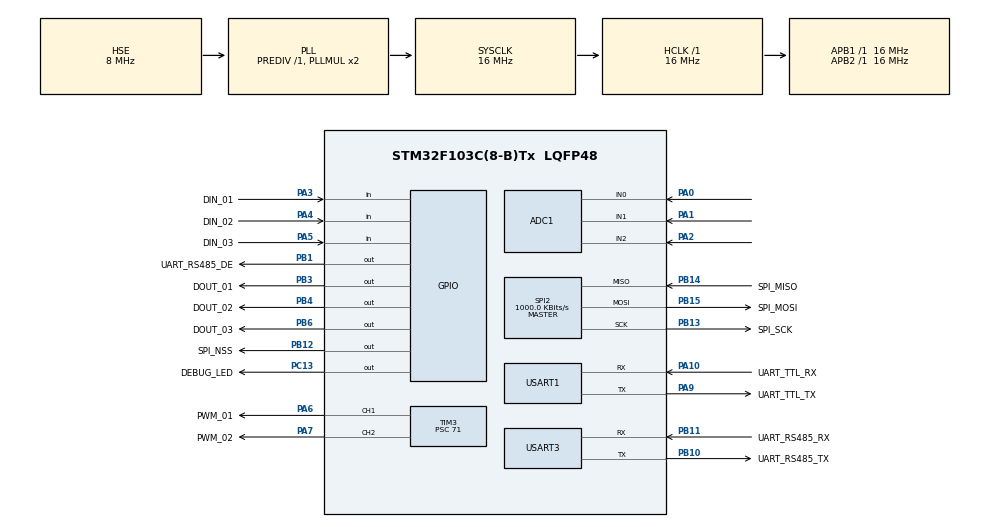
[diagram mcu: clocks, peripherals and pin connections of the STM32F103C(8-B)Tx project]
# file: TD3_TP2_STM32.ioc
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ADC1.Channel-14\#ChannelRegularConversion=ADC_CHANNEL_0
ADC1.Channel-15\#ChannelRegularConversion=ADC_CHANNEL_0
ADC1.ContinuousConvMode=ENABLE
ADC1.NbrOfConversion=2
ADC1.NbrOfConversionFlag=1
ADC1.Rank-14\#ChannelRegularConversion=1
ADC1.Rank-15\#ChannelRegularConversion=2
ADC1.SamplingTime-14\#ChannelRegularConversion=ADC_SAMPLETIME_1CYCLE_5
ADC1.SamplingTime-15\#ChannelRegularConversion=ADC_SAMPLETIME_1CYCLE_5
ADC1.master=1
FREERTOS.Tasks01=defaultTask,0,128,StartDefaultTask,Default,NULL,Dynamic,NULL,NULL
Mcu.Family=STM32F1
Mcu.Name=STM32F103C(8-B)Tx
Mcu.Package=LQFP48
NVIC.PriorityGroup=NVIC_PRIORITYGROUP_4
PA0-WKUP.Signal=ADCx_IN0
PA1.Signal=ADCx_IN1
PA10.GPIO_Label=UART_TTL_RX
PA10.Mode=Asynchronous
PA10.Signal=USART1_RX
PA13.Mode=Serial_Wire
PA13.Signal=SYS_JTMS-SWDIO
PA14.Mode=Serial_Wire
PA14.Signal=SYS_JTCK-SWCLK
PA2.Signal=ADCx_IN2
PA3.GPIO_Label=DIN_01
PA3.GPIO_Mode=GPIO_MODE_INPUT
PA3.GPIO_PuPd=GPIO_PULLDOWN
PA3.Signal=GPIO_Input
PA4.GPIO_Label=DIN_02
PA4.GPIO_Mode=GPIO_MODE_INPUT
PA4.GPIO_PuPd=GPIO_PULLDOWN
PA4.Signal=GPIO_Input
PA5.GPIO_Label=DIN_03
PA5.GPIO_Mode=GPIO_MODE_INPUT
PA5.GPIO_PuPd=GPIO_PULLDOWN
PA5.Signal=GPIO_Input
PA6.GPIO_Label=PWM_01
PA6.Signal=S_TIM3_CH1
PA7.GPIO_Label=PWM_02
PA7.Signal=S_TIM3_CH2
PA9.GPIO_Label=UART_TTL_TX
PA9.Mode=Asynchronous
PA9.Signal=USART1_TX
PB1.GPIO_Label=UART_RS485_DE
PB1.Signal=GPIO_Output
PB10.GPIO_Label=UART_RS485_TX
PB10.Mode=Asynchronous
PB10.Signal=USART3_TX
PB11.GPIO_Label=UART_RS485_RX
PB11.Mode=Asynchronous
PB11.Signal=USART3_RX
PB12.GPIO_Label=SPI_NSS
PB12.Signal=GPIO_Output
PB13.GPIO_Label=SPI_SCK
PB13.Mode=Full_Duplex_Master
PB13.Signal=SPI2_SCK
PB14.GPIO_Label=SPI_MISO
PB14.Mode=Full_Duplex_Master
PB14.Signal=SPI2_MISO
PB15.GPIO_Label=SPI_MOSI
PB15.Mode=Full_Duplex_Master
PB15.Signal=SPI2_MOSI
PB3.GPIO_Label=DOUT_01
PB3.Signal=GPIO_Output
PB4.GPIO_Label=DOUT_02
PB4.Signal=GPIO_Output
PB6.GPIO_Label=DOUT_03
PB6.GPIO_ModeDefaultOutputPP=GPIO_MODE_OUTPUT_PP
PB6.GPIO_PuPd=GPIO_PULLDOWN
PB6.GPIO_Speed=GPIO_SPEED_FREQ_MEDIUM
PB6.PinState=GPIO_PIN_RESET
PB6.Signal=GPIO_Output
PC13-TAMPER-RTC.GPIO_Label=DEBUG_LED
PC13-TAMPER-RTC.Signal=GPIO_Output
PD0-OSC_IN.Mode=HSE-External-Oscillator
PD0-OSC_IN.Signal=RCC_OSC_IN
PD1-OSC_OUT.Mode=HSE-External-Oscillator
PD1-OSC_OUT.Signal=RCC_OSC_OUT
ProjectManager.HeapSize=0x200
ProjectManager.StackSize=0x400
ProjectManager.TargetToolchain=STM32CubeIDE
RCC.ADCPresc=RCC_ADCPCLK2_DIV8
RCC.AHBFreq_Value=16000000
RCC.APB1Freq_Value=16000000
RCC.APB1TimFreq_Value=16000000
RCC.APB2Freq_Value=16000000
RCC.APB2TimFreq_Value=16000000
RCC.HCLKFreq_Value=16000000
RCC.PLLSourceVirtual=RCC_PLLSOURCE_HSE
RCC.SYSCLKFreq_VALUE=16000000
RCC.SYSCLKSource=RCC_SYSCLKSOURCE_PLLCLK
RCC.USBFreq_Value=16000000
SH.ADCx_IN0.0=ADC1_IN0,IN0
SH.ADCx_IN1.0=ADC1_IN1,IN1
SH.ADCx_IN2.0=ADC1_IN2,IN2
SH.S_TIM3_CH1.0=TIM3_CH1,PWM Generation1 CH1
SH.S_TIM3_CH2.0=TIM3_CH2,PWM Generation2 CH2
SPI2.BaudRatePrescaler=SPI_BAUDRATEPRESCALER_16
SPI2.CalculateBaudRate=1000.0 KBits/s
SPI2.Direction=SPI_DIRECTION_2LINES
SPI2.Mode=SPI_MODE_MASTER
SPI2.VirtualType=VM_MASTER
TIM3.AutoReloadPreload=TIM_AUTORELOAD_PRELOAD_ENABLE
TIM3.Channel-PWM\ Generation1\ CH1=TIM_CHANNEL_1
TIM3.Channel-PWM\ Generation2\ CH2=TIM_CHANNEL_2
TIM3.Period=4095
TIM3.Prescaler=71
USART1.VirtualMode=VM_ASYNC
USART3.VirtualMode=VM_ASYNC
VP_FREERTOS_VS_CMSIS_V1.Mode=CMSIS_V1
board=custom

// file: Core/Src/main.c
/* USER CODE BEGIN Header */
/**
  ******************************************************************************
  * @file           : main.c
  * @brief          : Main program body
  ******************************************************************************
  * @attention
  *
  * Copyright (c) 2025 STMicroelectronics.
  * All rights reserved.
  *
  * This software is licensed under terms that can be found in the LICENSE file
  * in the root directory of this software component.
  * If no LICENSE file comes with this software, it is provided AS-IS.
  *
  ******************************************************************************
  */
/* USER CODE END Header */
	#include "main.h"
	#include "cmsis_os.h"

	/* Private includes ----------------------------------------------------------*/
	/* USER CODE BEGIN Includes */
	#include "cmsis_os.h"
	#include <string.h>
	#include "bmp280_spi.h"
	/* USER CODE END Includes */

	/* Private typedef -----------------------------------------------------------*/

	/* Private define ------------------------------------------------------------*/
	/* USER CODE BEGIN PD */

	#define RS485_DE_PORT GPIOB
	#define RS485_DE_PIN GPIO_PIN_1
	//#define SPI_NSS_GPIO_Port GPIOA		// Chip select SPI
	//#define SPI_NSS_Pin GPIO_PIN_4		// Chip select SPI

	/* USER CODE END PD */

	/* Private macro -------------------------------------------------------------*/

	/* Private variables ---------------------------------------------------------*/
	ADC_HandleTypeDef hadc1;
	SPI_HandleTypeDef hspi2;
	TIM_HandleTypeDef htim3;

	UART_HandleTypeDef huart1;
	UART_HandleTypeDef huart3;

	osThreadId defaultTaskHandle;
	osThreadId entradasTaskHandle;
	osThreadId uartTaskHandle;
	/* USER CODE BEGIN PV */

	uint8_t transmision[12] = {0};
	uint8_t recepcion[5] = {0x02, 0, 0, 0, 0};
	volatile uint8_t rx_ready = 0;
	osMutexId transmisionMutex;					// Mutex para protección de recursos compartidos

	/* USER CODE END PV */

	/* Private function prototypes -----------------------------------------------*/
	void SystemClock_Config(void);
	static void MX_GPIO_Init(void);
	static void MX_USART1_UART_Init(void);
	static void MX_SPI2_Init(void);
	static void MX_TIM3_Init(void);
	static void MX_USART3_UART_Init(void);
	static void MX_ADC1_Init(void);
	void StartDefaultTask(void const * argument);

	/* USER CODE BEGIN PFP */
	void StartEntradasTask(void const * argument);
	void StartUartTask(void const * argument);
	/* USER CODE END PFP */

	/* Private user code ---------------------------------------------------------*/
	/* USER CODE BEGIN 0 */
	uint8_t calcular_crc(uint8_t* data, uint8_t length) {
		const uint8_t poly = 0x07;
		uint8_t crc = 0x00;
		for (uint8_t i = 0; i < length; i++) {
			crc ^= data[i];
			for (uint8_t j = 0; j < 8; j++) {
				crc = (crc & 0x80) ? (crc << 1) ^ poly : (crc << 1);
			}
		}
		return crc;
	}

	// Transmission RS485 ----------------------------------------------------

	/*void RS485_Transmit(uint8_t* data, uint16_t size) {
		HAL_GPIO_WritePin(RS485_DE_PORT, RS485_DE_PIN, GPIO_PIN_SET);
		HAL_UART_Transmit(&huart2, data, size, HAL_MAX_DELAY);
		HAL_GPIO_WritePin(RS485_DE_PORT, RS485_DE_PIN, GPIO_PIN_RESET);
	}*/

	void RS485_Transmit(uint8_t* data, uint16_t size) {
		HAL_GPIO_WritePin(RS485_DE_PORT, RS485_DE_PIN, GPIO_PIN_SET);         // Habilitar transmisión
		HAL_UART_Transmit(&huart3, data, size, HAL_MAX_DELAY);                // Transmitir datos
		while (!(USART3->SR & USART_SR_TC));                                  // Esperar que termine completamente
		HAL_GPIO_WritePin(RS485_DE_PORT, RS485_DE_PIN, GPIO_PIN_RESET);       // Deshabilitar transmisión
	}

	// Callback de recepción UART ---------------------------------------------

	void HAL_UART_RxCpltCallback(UART_HandleTypeDef *huart) {
		if (huart->Instance == USART3) {
			// Verificar CRC de los primeros 4 bytes
			uint8_t crc_calculado = calcular_crc(recepcion, 4);
			if (crc_calculado == recepcion[4]) {
				rx_ready = 1;
			}
			// Reactivar recepción
			HAL_UART_Receive_IT(&huart3, recepcion, sizeof(recepcion));
		}
	}
	/* USER CODE END 0 */

	/**
	  * @brief  The application entry point.
	  * @retval int
	  */
	int main(void)
	{

	  /* MCU Configuration--------------------------------------------------------*/

	  /* Reset of all peripherals, Initializes the Flash interface and the Systick. */
	  HAL_Init();

	  /* Configure the system clock */
	  SystemClock_Config();

	  /* Initialize all configured peripherals */
	  MX_GPIO_Init();
	  MX_USART1_UART_Init();
	  MX_SPI2_Init();
	  MX_TIM3_Init();
	  MX_USART3_UART_Init();
	  MX_ADC1_Init();
	  /* USER CODE BEGIN 2 */
	  HAL_TIM_PWM_Start(&htim3, TIM_CHANNEL_1); // PA6
	  HAL_TIM_PWM_Start(&htim3, TIM_CHANNEL_2); // PA17
	  HAL_ADC_Start(&hadc1);
	  BMP280_SPI_Init(&hspi2, GPIOB, GPIO_PIN_12);
	  /* USER CODE END 2 */

	  /* USER CODE BEGIN RTOS_MUTEX */

	  // Crear mutex para protección de buffer

	  osMutexDef(transmisionMutex);
	  transmisionMutex = osMutexCreate(osMutex(transmisionMutex));
	  // Iniciar recepción por interrupción para RS485
	  HAL_UART_Receive_IT(&huart3, recepcion, sizeof(recepcion));

	  /* USER CODE END RTOS_MUTEX */

	  /* Create the thread(s) */
	  /* definition and creation of defaultTask */
	  osThreadDef(defaultTask, StartDefaultTask, osPriorityNormal, 0, 128);
	  defaultTaskHandle = osThreadCreate(osThread(defaultTask), NULL);

	  /* USER CODE BEGIN RTOS_THREADS */

	  osThreadDef(entradasTask, StartEntradasTask, osPriorityAboveNormal, 0, 256);
	  entradasTaskHandle = osThreadCreate(osThread(entradasTask), NULL);

  osThreadDef(uartTask, StartUartTask, osPriorityHigh, 0, 128);
  uartTaskHandle = osThreadCreate(osThread(uartTask), NULL);
  /* USER CODE END RTOS_THREADS */

  /* Start scheduler */
  osKernelStart();

  /* We should never get here as control is now taken by the scheduler */

  /* Infinite loop */
  while (1)
  {

  }
}

void SystemClock_Config(void)
{
  RCC_OscInitTypeDef RCC_OscInitStruct = {0};
  RCC_ClkInitTypeDef RCC_ClkInitStruct = {0};
  RCC_PeriphCLKInitTypeDef PeriphClkInit = {0};

  /** Initializes the RCC Oscillators according to the specified parameters
  * in the RCC_OscInitTypeDef structure.
  */
  RCC_OscInitStruct.OscillatorType = RCC_OSCILLATORTYPE_HSE;
  RCC_OscInitStruct.HSEState = RCC_HSE_ON;
  RCC_OscInitStruct.HSEPredivValue = RCC_HSE_PREDIV_DIV1;
  RCC_OscInitStruct.HSIState = RCC_HSI_ON;
  RCC_OscInitStruct.PLL.PLLState = RCC_PLL_ON;
  RCC_OscInitStruct.PLL.PLLSource = RCC_PLLSOURCE_HSE;
  RCC_OscInitStruct.PLL.PLLMUL = RCC_PLL_MUL2;
  if (HAL_RCC_OscConfig(&RCC_OscInitStruct) != HAL_OK)
  {
    Error_Handler();
  }

  /** Initializes the CPU, AHB and APB buses clocks
  */
  RCC_ClkInitStruct.ClockType = RCC_CLOCKTYPE_HCLK|RCC_CLOCKTYPE_SYSCLK
                              |RCC_CLOCKTYPE_PCLK1|RCC_CLOCKTYPE_PCLK2;
  RCC_ClkInitStruct.SYSCLKSource = RCC_SYSCLKSOURCE_PLLCLK;
  RCC_ClkInitStruct.AHBCLKDivider = RCC_SYSCLK_DIV1;
  RCC_ClkInitStruct.APB1CLKDivider = RCC_HCLK_DIV1;
  RCC_ClkInitStruct.APB2CLKDivider = RCC_HCLK_DIV1;

  if (HAL_RCC_ClockConfig(&RCC_ClkInitStruct, FLASH_LATENCY_0) != HAL_OK)
  {
    Error_Handler();
  }
  PeriphClkInit.PeriphClockSelection = RCC_PERIPHCLK_ADC;
  PeriphClkInit.AdcClockSelection = RCC_ADCPCLK2_DIV8;
  if (HAL_RCCEx_PeriphCLKConfig(&PeriphClkInit) != HAL_OK)
  {
    Error_Handler();
  }
}

static void MX_ADC1_Init(void)
{

  ADC_ChannelConfTypeDef sConfig = {0};

  /** Common config
  */
  hadc1.Instance = ADC1;
  hadc1.Init.ScanConvMode = ADC_SCAN_ENABLE;
  hadc1.Init.ContinuousConvMode = ENABLE;
  hadc1.Init.DiscontinuousConvMode = DISABLE;
  hadc1.Init.ExternalTrigConv = ADC_SOFTWARE_START;
  hadc1.Init.DataAlign = ADC_DATAALIGN_RIGHT;
  hadc1.Init.NbrOfConversion = 2;
  if (HAL_ADC_Init(&hadc1) != HAL_OK)
  {
    Error_Handler();
  }

  /** Configure Regular Channel
  */
  sConfig.Channel = ADC_CHANNEL_0;
  sConfig.Rank = ADC_REGULAR_RANK_1;
  sConfig.SamplingTime = ADC_SAMPLETIME_1CYCLE_5;
  if (HAL_ADC_ConfigChannel(&hadc1, &sConfig) != HAL_OK)
  {
    Error_Handler();
  }

  /** Configure Regular Channel
  */
  sConfig.Rank = ADC_REGULAR_RANK_2;
  if (HAL_ADC_ConfigChannel(&hadc1, &sConfig) != HAL_OK)
  {
    Error_Handler();
  }

}

static void MX_SPI2_Init(void)
{

  /* SPI2 parameter configuration*/
  hspi2.Instance = SPI2;
  hspi2.Init.Mode = SPI_MODE_MASTER;
  hspi2.Init.Direction = SPI_DIRECTION_2LINES;
  hspi2.Init.DataSize = SPI_DATASIZE_8BIT;
  hspi2.Init.CLKPolarity = SPI_POLARITY_LOW;
  hspi2.Init.CLKPhase = SPI_PHASE_1EDGE;
  hspi2.Init.NSS = SPI_NSS_SOFT;
  hspi2.Init.BaudRatePrescaler = SPI_BAUDRATEPRESCALER_16;
  hspi2.Init.FirstBit = SPI_FIRSTBIT_MSB;
  hspi2.Init.TIMode = SPI_TIMODE_DISABLE;
  hspi2.Init.CRCCalculation = SPI_CRCCALCULATION_DISABLE;
  hspi2.Init.CRCPolynomial = 10;
  if (HAL_SPI_Init(&hspi2) != HAL_OK)
  {
    Error_Handler();
  }

}

static void MX_TIM3_Init(void)
{

  TIM_MasterConfigTypeDef sMasterConfig = {0};
  TIM_OC_InitTypeDef sConfigOC = {0};

  htim3.Instance = TIM3;
  htim3.Init.Prescaler = 71;
  htim3.Init.CounterMode = TIM_COUNTERMODE_UP;
  htim3.Init.Period = 4095;
  htim3.Init.ClockDivision = TIM_CLOCKDIVISION_DIV1;
  htim3.Init.AutoReloadPreload = TIM_AUTORELOAD_PRELOAD_ENABLE;
  if (HAL_TIM_PWM_Init(&htim3) != HAL_OK)
  {
    Error_Handler();
  }
  sMasterConfig.MasterOutputTrigger = TIM_TRGO_RESET;
  sMasterConfig.MasterSlaveMode = TIM_MASTERSLAVEMODE_DISABLE;
  if (HAL_TIMEx_MasterConfigSynchronization(&htim3, &sMasterConfig) != HAL_OK)
  {
    Error_Handler();
  }
  sConfigOC.OCMode = TIM_OCMODE_PWM1;
  sConfigOC.Pulse = 0;
  sConfigOC.OCPolarity = TIM_OCPOLARITY_HIGH;
  sConfigOC.OCFastMode = TIM_OCFAST_DISABLE;
  if (HAL_TIM_PWM_ConfigChannel(&htim3, &sConfigOC, TIM_CHANNEL_1) != HAL_OK)
  {
    Error_Handler();
  }
  if (HAL_TIM_PWM_ConfigChannel(&htim3, &sConfigOC, TIM_CHANNEL_2) != HAL_OK)
  {
    Error_Handler();
  }
  HAL_TIM_MspPostInit(&htim3);

}

static void MX_USART1_UART_Init(void)
{

  huart1.Instance = USART1;
  huart1.Init.BaudRate = 115200;
  huart1.Init.WordLength = UART_WORDLENGTH_8B;
  huart1.Init.StopBits = UART_STOPBITS_1;
  huart1.Init.Parity = UART_PARITY_NONE;
  huart1.Init.Mode = UART_MODE_TX_RX;
  huart1.Init.HwFlowCtl = UART_HWCONTROL_NONE;
  huart1.Init.OverSampling = UART_OVERSAMPLING_16;
  if (HAL_UART_Init(&huart1) != HAL_OK)
  {
    Error_Handler();
  }

}

static void MX_USART3_UART_Init(void)
{

  huart3.Instance = USART3;
  huart3.Init.BaudRate = 115200;
  huart3.Init.WordLength = UART_WORDLENGTH_8B;
  huart3.Init.StopBits = UART_STOPBITS_1;
  huart3.Init.Parity = UART_PARITY_NONE;
  huart3.Init.Mode = UART_MODE_TX_RX;
  huart3.Init.HwFlowCtl = UART_HWCONTROL_NONE;
  huart3.Init.OverSampling = UART_OVERSAMPLING_16;
  if (HAL_UART_Init(&huart3) != HAL_OK)
  {
    Error_Handler();
  }

}

static void MX_GPIO_Init(void)
{
  GPIO_InitTypeDef GPIO_InitStruct = {0};

  /* GPIO Ports Clock Enable */
  __HAL_RCC_GPIOC_CLK_ENABLE();
  __HAL_RCC_GPIOD_CLK_ENABLE();
  __HAL_RCC_GPIOA_CLK_ENABLE();
  __HAL_RCC_GPIOB_CLK_ENABLE();

  /*Configure GPIO pin Output Level */
  HAL_GPIO_WritePin(DEBUG_LED_GPIO_Port, DEBUG_LED_Pin, GPIO_PIN_RESET);

  /*Configure GPIO pin Output Level */
  HAL_GPIO_WritePin(GPIOB, UART_RS485_DE_Pin|SPI_NSS_Pin|DOUT_01_Pin|DOUT_02_Pin
                          |DOUT_03_Pin, GPIO_PIN_RESET);

  /*Configure GPIO pin : DEBUG_LED_Pin */
  GPIO_InitStruct.Pin = DEBUG_LED_Pin;
  GPIO_InitStruct.Mode = GPIO_MODE_OUTPUT_PP;
  GPIO_InitStruct.Pull = GPIO_NOPULL;
  GPIO_InitStruct.Speed = GPIO_SPEED_FREQ_LOW;
  HAL_GPIO_Init(DEBUG_LED_GPIO_Port, &GPIO_InitStruct);

  /*Configure GPIO pins : DIN_01_Pin DIN_02_Pin DIN_03_Pin */
  GPIO_InitStruct.Pin = DIN_01_Pin|DIN_02_Pin|DIN_03_Pin;
  GPIO_InitStruct.Mode = GPIO_MODE_INPUT;
  GPIO_InitStruct.Pull = GPIO_PULLDOWN;
  HAL_GPIO_Init(GPIOA, &GPIO_InitStruct);

  /*Configure GPIO pins : UART_RS485_DE_Pin SPI_NSS_Pin DOUT_01_Pin DOUT_02_Pin */
  GPIO_InitStruct.Pin = UART_RS485_DE_Pin|SPI_NSS_Pin|DOUT_01_Pin|DOUT_02_Pin;
  GPIO_InitStruct.Mode = GPIO_MODE_OUTPUT_PP;
  GPIO_InitStruct.Pull = GPIO_NOPULL;
  GPIO_InitStruct.Speed = GPIO_SPEED_FREQ_LOW;
  HAL_GPIO_Init(GPIOB, &GPIO_InitStruct);

  /*Configure GPIO pin : DOUT_03_Pin */
  GPIO_InitStruct.Pin = DOUT_03_Pin;
  GPIO_InitStruct.Mode = GPIO_MODE_OUTPUT_PP;
  GPIO_InitStruct.Pull = GPIO_PULLDOWN;
  GPIO_InitStruct.Speed = GPIO_SPEED_FREQ_MEDIUM;
  HAL_GPIO_Init(DOUT_03_GPIO_Port, &GPIO_InitStruct);

  /* USER CODE BEGIN MX_GPIO_Init_2 */
  HAL_GPIO_WritePin(DOUT_01_GPIO_Port, DOUT_01_Pin, GPIO_PIN_RESET);
  HAL_GPIO_WritePin(DOUT_02_GPIO_Port, DOUT_02_Pin, GPIO_PIN_RESET);
  HAL_GPIO_WritePin(DOUT_03_GPIO_Port, DOUT_03_Pin, GPIO_PIN_RESET);
  /* USER CODE END MX_GPIO_Init_2 */
}

/* USER CODE BEGIN 4 */
void StartEntradasTask(void const * argument) {
    uint16_t valores_adc[3];
    float temp, press;
    uint32_t press_entero;

    for (;;) {
        // Leer valores ADC
        for (int i = 0; i < 3; i++) {
            HAL_ADC_PollForConversion(&hadc1, HAL_MAX_DELAY);
            valores_adc[i] = HAL_ADC_GetValue(&hadc1);
        }

        // Leer entradas digitales
        uint8_t entradas_digitales = 0;
        entradas_digitales |= HAL_GPIO_ReadPin(DIN_01_GPIO_Port, DIN_01_Pin);
        entradas_digitales |= HAL_GPIO_ReadPin(DIN_02_GPIO_Port, DIN_02_Pin) << 1;
        entradas_digitales |= HAL_GPIO_ReadPin(DIN_03_GPIO_Port, DIN_03_Pin) << 2;

        // Leer sensor BMP280
        temp = BMP280_ReadTemperature();
        press = BMP280_ReadPressure();
        press_entero = (uint32_t)press;

        // Actualizar buffer de transmisión con protección
        osMutexWait(transmisionMutex, osWaitForever);

        transmision[0] = 0x02;  // Byte de inicio
        transmision[1] = valores_adc[0] & 0xFF;
        transmision[2] = (valores_adc[0] >> 8) & 0xFF;
        transmision[3] = valores_adc[1] & 0xFF;
        transmision[4] = (valores_adc[1] >> 8) & 0xFF;
        transmision[5] = valores_adc[2] & 0xFF;
        transmision[6] = (valores_adc[2] >> 8) & 0xFF;
        transmision[7] = entradas_digitales;
        transmision[8] = (uint8_t)temp;
        transmision[9] = (press_entero >> 8) & 0xFF;
        transmision[10] = press_entero & 0xFF;
        transmision[11] = calcular_crc(transmision, 11);

        osMutexRelease(transmisionMutex);

        osDelay(100);
    }
}

void StartUartTask(void const * argument) {
    uint8_t local_recepcion[5];
    uint8_t procesar_datos = 0;

    for (;;) {
        // Transmitir por RS232 (monitoreo)
        osMutexWait(transmisionMutex, osWaitForever);
        HAL_UART_Transmit(&huart1, transmision, sizeof(transmision), HAL_MAX_DELAY);
        osMutexRelease(transmisionMutex);

        // Procesar comandos recibidos
        if (rx_ready) {
            // Copiar datos a buffer local
            taskENTER_CRITICAL();
            memcpy(local_recepcion, recepcion, sizeof(recepcion));
            procesar_datos = 1;
            rx_ready = 0;
            taskEXIT_CRITICAL();
        }

        if (procesar_datos) {
            // Controlar salidas digitales
            HAL_GPIO_WritePin(DIN_01_GPIO_Port, DIN_01_Pin, (local_recepcion[1] & 0x01) ? GPIO_PIN_SET : GPIO_PIN_RESET);
            HAL_GPIO_WritePin(DIN_02_GPIO_Port, DIN_02_Pin, (local_recepcion[1] & 0x02) ? GPIO_PIN_SET : GPIO_PIN_RESET);
            HAL_GPIO_WritePin(DIN_03_GPIO_Port, DIN_03_Pin, (local_recepcion[1] & 0x04) ? GPIO_PIN_SET : GPIO_PIN_RESET);

            // Controlar PWM
            __HAL_TIM_SET_COMPARE(&htim3, PWM_01_Pin, local_recepcion[2]);
            __HAL_TIM_SET_COMPARE(&htim3, PWM_02_Pin, local_recepcion[3]);

            procesar_datos = 0;
        }

        osDelay(500);
    }
}

/* USER CODE END 4 */

void StartDefaultTask(void const * argument)
{
  /* USER CODE BEGIN 5 */
  /* Infinite loop */
  for(;;)
  {
	  // Transmitir por RS485 con protección de mutex
	  osMutexWait(transmisionMutex, osWaitForever);
	  RS485_Transmit(transmision, sizeof(transmision));
	  osMutexRelease(transmisionMutex);

	  osDelay(1000);
  }
  /* USER CODE END 5 */
}

void Error_Handler(void)
{
  __disable_irq();
  while (1)
  {
  }
}
